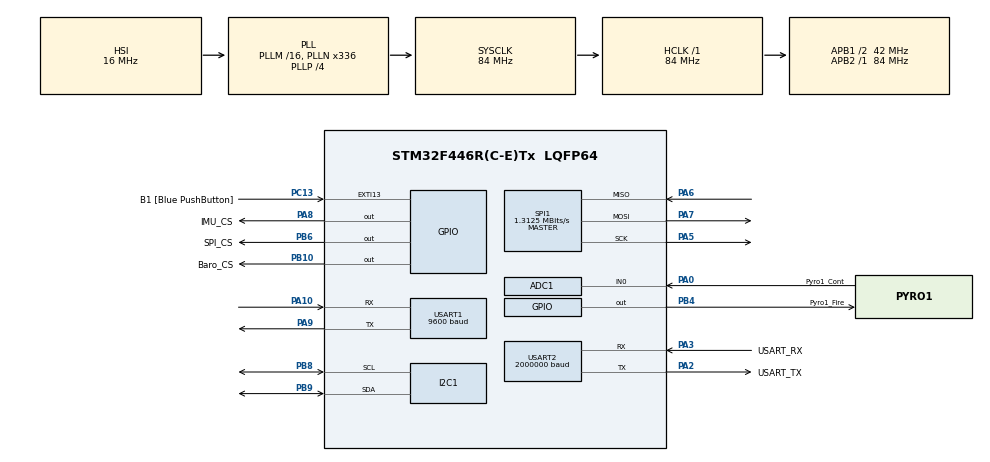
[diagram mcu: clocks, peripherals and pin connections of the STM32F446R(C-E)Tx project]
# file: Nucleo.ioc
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ADC1.Channel-0\#ChannelRegularConversion=ADC_CHANNEL_0
ADC1.NbrOfConversionFlag=1
ADC1.Rank-0\#ChannelRegularConversion=1
ADC1.SamplingTime-0\#ChannelRegularConversion=ADC_SAMPLETIME_3CYCLES
ADC1.master=1
Mcu.Family=STM32F4
Mcu.Name=STM32F446R(C-E)Tx
Mcu.Package=LQFP64
NVIC.PriorityGroup=NVIC_PRIORITYGROUP_0
PA0-WKUP.GPIO_Label=Pyro1_Cont
PA0-WKUP.Signal=ADCx_IN0
PA10.Mode=Asynchronous
PA10.Signal=USART1_RX
PA13.GPIO_Label=TMS
PA13.Mode=Trace_Asynchronous_SW
PA13.Signal=SYS_JTMS-SWDIO
PA14.GPIO_Label=TCK
PA14.Mode=Trace_Asynchronous_SW
PA14.Signal=SYS_JTCK-SWCLK
PA2.GPIO_Label=USART_TX
PA2.Mode=Asynchronous
PA2.Signal=USART2_TX
PA3.GPIO_Label=USART_RX
PA3.Mode=Asynchronous
PA3.Signal=USART2_RX
PA5.Mode=Full_Duplex_Master
PA5.Signal=SPI1_SCK
PA6.Mode=Full_Duplex_Master
PA6.Signal=SPI1_MISO
PA7.Mode=Full_Duplex_Master
PA7.Signal=SPI1_MOSI
PA8.GPIO_Label=IMU_CS
PA8.PinState=GPIO_PIN_SET
PA8.Signal=GPIO_Output
PA9.Mode=Asynchronous
PA9.Signal=USART1_TX
PB10.GPIO_Label=Baro_CS
PB10.PinState=GPIO_PIN_SET
PB10.Signal=GPIO_Output
PB3.GPIO_Label=SWO
PB3.Mode=Trace_Asynchronous_SW
PB3.Signal=SYS_JTDO-SWO
PB4.GPIO_Label=Pyro1_Fire
PB4.Signal=GPIO_Output
PB6.GPIO_Label=SPI_CS
PB6.PinState=GPIO_PIN_SET
PB6.Signal=GPIO_Output
PB8.Mode=I2C
PB8.Signal=I2C1_SCL
PB9.Mode=I2C
PB9.Signal=I2C1_SDA
PC13.GPIO_Label=B1 [Blue PushButton]
PC13.GPIO_ModeDefaultEXTI=GPIO_MODE_IT_FALLING
PC13.Signal=GPXTI13
PC14-OSC32_IN.Mode=LSE-External-Oscillator
PC14-OSC32_IN.Signal=RCC_OSC32_IN
PC15-OSC32_OUT.Mode=LSE-External-Oscillator
PC15-OSC32_OUT.Signal=RCC_OSC32_OUT
PH0-OSC_IN.Mode=HSE-External-Oscillator
PH0-OSC_IN.Signal=RCC_OSC_IN
PH1-OSC_OUT.Mode=HSE-External-Oscillator
PH1-OSC_OUT.Signal=RCC_OSC_OUT
ProjectManager.HeapSize=0x200
ProjectManager.StackSize=0x400
ProjectManager.TargetToolchain=Makefile
RCC.48MHZClocksFreq_Value=84000000
RCC.AHBFreq_Value=84000000
RCC.APB1CLKDivider=RCC_HCLK_DIV2
RCC.APB1Freq_Value=42000000
RCC.APB1TimFreq_Value=84000000
RCC.APB2Freq_Value=84000000
RCC.APB2TimFreq_Value=84000000
RCC.CortexFreq_Value=84000000
RCC.FLatency-AdvancedSettings=FLASH_LATENCY_2
RCC.HCLKFreq_Value=84000000
RCC.HSE_VALUE=8000000
RCC.HSI_VALUE=16000000
RCC.PLLN=336
RCC.PLLP=RCC_PLLP_DIV4
RCC.SYSCLKFreq_VALUE=84000000
RCC.SYSCLKSource=RCC_SYSCLKSOURCE_PLLCLK
RCC.USBFreq_Value=168000000
RCC.VCOOutputFreq_Value=336000000
SH.ADCx_IN0.0=ADC1_IN0,IN0
SPI1.BaudRatePrescaler=SPI_BAUDRATEPRESCALER_64
SPI1.CLKPhase=SPI_PHASE_1EDGE
SPI1.CalculateBaudRate=1.3125 MBits/s
SPI1.DataSize=SPI_DATASIZE_8BIT
SPI1.Direction=SPI_DIRECTION_2LINES
SPI1.Mode=SPI_MODE_MASTER
SPI1.VirtualType=VM_MASTER
USART1.BaudRate=9600
USART1.VirtualMode=VM_ASYNC
USART2.BaudRate=2000000
USART2.VirtualMode=VM_ASYNC
board=NUCLEO-F446RE

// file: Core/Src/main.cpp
/* USER CODE BEGIN Header */
/**
  ******************************************************************************
  * @file           : main.c
  * @brief          : Main program body
  ******************************************************************************
  * @attention
  *
  * Copyright (c) 2025 STMicroelectronics.
  * All rights reserved.
  *
  * This software is licensed under terms that can be found in the LICENSE file
  * in the root directory of this software component.
  * If no LICENSE file comes with this software, it is provided AS-IS.
  *
  ******************************************************************************
  */
/* USER CODE END Header */
#include "main.h"

/* USER CODE BEGIN Includes */

#include "data.h"
#include "state_machine.h"

#include "SPI_Devices/radio_RFM95W.h"
#include "SPI_Devices/flash_W25Q128.h"
#include "SPI_Devices/imu_LSM6DSV320.h"

#include "I2C_Devices/mag_MMC5603NJ.h"
#include "I2C_Devices/baro_MS5607.h"

#include "Pyro.h"

#include "filters/orientation_filter.h"
#include "filters/position_kalman_filter.h"

#include "definitions.h"

#include "micros.h"

/* USER CODE END Includes */

ADC_HandleTypeDef hadc1;

I2C_HandleTypeDef hi2c1;

SPI_HandleTypeDef hspi1;

UART_HandleTypeDef huart1; // GPS
UART_HandleTypeDef huart2; // Logging

/* USER CODE BEGIN PV */
uint32_t loop_start = micros();

Data data(&huart2);
char buffer[64];

// I2C Devices
// Mag_MMC5603NJ  mag(&hi2c1, &data);
Baro_MS5607 baro(&hi2c1, &data);
I2C_Device* i2c_devices[NUM_I2C_DEVICES] = {&baro};

// SPI Devices
Radio_RFM95W  radio(&data, &hspi1, SPI_CS_GPIO_Port, SPI_CS_Pin, RADIO_FREQ);
// Flash_W25Q128 flash(&data, &hspi1, SPI_CS_GPIO_Port, SPI_CS_Pin);
IMU_LSM6DSV320 imu(&data, &hspi1, IMU_CS_GPIO_Port, IMU_CS_Pin);
// Baro_MS5607    baro(&data, &hspi1, GPIOB, Baro_CS_Pin);
SPI_Device* spi_devices[NUM_SPI_DEVICES] {&imu, &radio};

// Pyro Channels
Pyro pyro1(&data, GPIOA, Pyro1_Fire_Pin, hadc1);
// Pyro pyro2(&data, GPIOA, Pyro2_Fire_Pin, GPIOA, Pyro2_Cont_Pin);
// Pyro pyro3(&data, GPIOA, Pyro3_Fire_Pin, GPIOA, Pyro3_Cont_Pin);

// Filters
Orientation_Filter orientation_filter(&data);
Position_Kalman_Filter position_kalman_filter(&data);

State_Machine state_machine(&data, i2c_devices, spi_devices);

/* USER CODE END PV */

void SystemClock_Config(void);
static void MX_GPIO_Init(void);
static void MX_I2C1_Init(void);
static void MX_USART2_UART_Init(void);
static void MX_USART1_UART_Init(void);
static void MX_SPI1_Init(void);
static void MX_ADC1_Init(void);

int main(void)
{

    /* USER CODE BEGIN 1 */
    DWT_Init(); // Initialize the DWT for micro() and delay_us() functions
    /* USER CODE END 1 */

    /* MCU Configuration--------------------------------------------------------*/

    /* Reset of all peripherals, Initializes the Flash interface and the Systick. */
    HAL_Init();

    /* Configure the system clock */
    SystemClock_Config();

    /* Initialize all configured peripherals */
    MX_GPIO_Init();
    MX_I2C1_Init();
    MX_USART2_UART_Init();
    MX_USART1_UART_Init();
    MX_SPI1_Init();
	MX_ADC1_Init();
    /* USER CODE BEGIN 2 */

    // Initialize the state machine
    state_machine.start();
    state_machine.system_checks();

    snprintf(buffer, sizeof(buffer), "Finished System Checks\r\n");
    HAL_UART_Transmit(&huart2, (uint8_t*)buffer, sizeof(buffer), HAL_MAX_DELAY);

    // Initialize the filters
    orientation_filter.init();
    position_kalman_filter.init();

    state_machine.localize();

    /* USER CODE END 2 */

    /* Infinite loop */
    while (1)
    {

        /* USER CODE BEGIN 3 */

        if (micros() - loop_start >= LOOP_TIME) {

            data.dt = (micros() - loop_start) / 1000000.0;
            data.freq = 1 / data.dt;

            loop_start = micros();
            data.timestamp = loop_start;

            // Update state machine
            state_machine.loop();

            // Update filters
            orientation_filter.compute();

            data.rotated_LowG_Accel  = data.LSM6DSV320_LowG_Accel.rotateByEuler(data.orientation.toEuler());  // Rotate acceleration vector by orientation
            data.rotated_HighG_Accel = data.LSM6DSV320_HighG_Accel.rotateByEuler(data.orientation.toEuler()); // Rotate acceleration vector by orientation
            position_kalman_filter.compute();

            // Log data
            data.log();
        }
    }
    /* USER CODE END 3 */
}

void SystemClock_Config(void)
{
    RCC_OscInitTypeDef RCC_OscInitStruct = {0};
    RCC_ClkInitTypeDef RCC_ClkInitStruct = {0};

    /** Configure the main internal regulator output voltage
     */
    __HAL_RCC_PWR_CLK_ENABLE();
	__HAL_PWR_VOLTAGESCALING_CONFIG(PWR_REGULATOR_VOLTAGE_SCALE3);

    /** Initializes the RCC Oscillators according to the specified parameters
     * in the RCC_OscInitTypeDef structure.
     */
    RCC_OscInitStruct.OscillatorType = RCC_OSCILLATORTYPE_HSI;
    RCC_OscInitStruct.HSIState = RCC_HSI_ON;
    RCC_OscInitStruct.HSICalibrationValue = RCC_HSICALIBRATION_DEFAULT;
    RCC_OscInitStruct.PLL.PLLState = RCC_PLL_ON;
    RCC_OscInitStruct.PLL.PLLSource = RCC_PLLSOURCE_HSI;
    RCC_OscInitStruct.PLL.PLLM = 16;
    RCC_OscInitStruct.PLL.PLLN = 336;
    RCC_OscInitStruct.PLL.PLLP = RCC_PLLP_DIV4;
    RCC_OscInitStruct.PLL.PLLQ = 2;
    RCC_OscInitStruct.PLL.PLLR = 2;
    if (HAL_RCC_OscConfig(&RCC_OscInitStruct) != HAL_OK)
    {
        Error_Handler();
    }

    /** Initializes the CPU, AHB and APB buses clocks
     */
	RCC_ClkInitStruct.ClockType = RCC_CLOCKTYPE_HCLK | RCC_CLOCKTYPE_SYSCLK | RCC_CLOCKTYPE_PCLK1 | RCC_CLOCKTYPE_PCLK2;
    RCC_ClkInitStruct.SYSCLKSource = RCC_SYSCLKSOURCE_PLLCLK;
    RCC_ClkInitStruct.AHBCLKDivider = RCC_SYSCLK_DIV1;
    RCC_ClkInitStruct.APB1CLKDivider = RCC_HCLK_DIV2;
    RCC_ClkInitStruct.APB2CLKDivider = RCC_HCLK_DIV1;

    if (HAL_RCC_ClockConfig(&RCC_ClkInitStruct, FLASH_LATENCY_2) != HAL_OK)
    {
        Error_Handler();
    }
}

static void MX_ADC1_Init(void)
{

	ADC_ChannelConfTypeDef sConfig = {0};

	/** Configure the global features of the ADC (Clock, Resolution, Data Alignment and number of conversion)
	 */
	hadc1.Instance = ADC1;
	hadc1.Init.ClockPrescaler = ADC_CLOCK_SYNC_PCLK_DIV4;
	hadc1.Init.Resolution = ADC_RESOLUTION_12B;
	hadc1.Init.ScanConvMode = DISABLE;
	hadc1.Init.ContinuousConvMode = DISABLE;
	hadc1.Init.DiscontinuousConvMode = DISABLE;
	hadc1.Init.ExternalTrigConvEdge = ADC_EXTERNALTRIGCONVEDGE_NONE;
	hadc1.Init.ExternalTrigConv = ADC_SOFTWARE_START;
	hadc1.Init.DataAlign = ADC_DATAALIGN_RIGHT;
	hadc1.Init.NbrOfConversion = 1;
	hadc1.Init.DMAContinuousRequests = DISABLE;
	hadc1.Init.EOCSelection = ADC_EOC_SINGLE_CONV;
	if (HAL_ADC_Init(&hadc1) != HAL_OK)
	{
		Error_Handler();
	}

	/** Configure for the selected ADC regular channel its corresponding rank in the sequencer and its sample time.
	 */
	sConfig.Channel = ADC_CHANNEL_0;
	sConfig.Rank = 1;
	sConfig.SamplingTime = ADC_SAMPLETIME_3CYCLES;
	if (HAL_ADC_ConfigChannel(&hadc1, &sConfig) != HAL_OK)
	{
		Error_Handler();
	}
}

static void MX_I2C1_Init(void)
{

    hi2c1.Instance = I2C1;
    hi2c1.Init.ClockSpeed = 100000;
    hi2c1.Init.DutyCycle = I2C_DUTYCYCLE_2;
    hi2c1.Init.OwnAddress1 = 0;
    hi2c1.Init.AddressingMode = I2C_ADDRESSINGMODE_7BIT;
    hi2c1.Init.DualAddressMode = I2C_DUALADDRESS_DISABLE;
    hi2c1.Init.OwnAddress2 = 0;
    hi2c1.Init.GeneralCallMode = I2C_GENERALCALL_DISABLE;
    hi2c1.Init.NoStretchMode = I2C_NOSTRETCH_DISABLE;
    if (HAL_I2C_Init(&hi2c1) != HAL_OK)
    {
        Error_Handler();
    }
}

static void MX_SPI1_Init(void)
{

    /* SPI1 parameter configuration*/
    hspi1.Instance = SPI1;
    hspi1.Init.Mode = SPI_MODE_MASTER;
    hspi1.Init.Direction = SPI_DIRECTION_2LINES;
    hspi1.Init.DataSize = SPI_DATASIZE_8BIT;
    hspi1.Init.CLKPolarity = SPI_POLARITY_LOW;
    hspi1.Init.CLKPhase = SPI_PHASE_1EDGE;
    hspi1.Init.NSS = SPI_NSS_SOFT;
    hspi1.Init.BaudRatePrescaler = SPI_BAUDRATEPRESCALER_64;
    hspi1.Init.FirstBit = SPI_FIRSTBIT_MSB;
    hspi1.Init.TIMode = SPI_TIMODE_DISABLE;
    hspi1.Init.CRCCalculation = SPI_CRCCALCULATION_DISABLE;
    hspi1.Init.CRCPolynomial = 10;
    if (HAL_SPI_Init(&hspi1) != HAL_OK)
    {
        Error_Handler();
    }
}

static void MX_USART1_UART_Init(void)
{

  huart1.Instance = USART1;
  huart1.Init.BaudRate = 9600;
  huart1.Init.WordLength = UART_WORDLENGTH_8B;
  huart1.Init.StopBits = UART_STOPBITS_1;
  huart1.Init.Parity = UART_PARITY_NONE;
  huart1.Init.Mode = UART_MODE_TX_RX;
  huart1.Init.HwFlowCtl = UART_HWCONTROL_NONE;
  huart1.Init.OverSampling = UART_OVERSAMPLING_16;
  if (HAL_UART_Init(&huart1) != HAL_OK)
  {
    Error_Handler();
  }
}

static void MX_USART2_UART_Init(void)
{

  huart2.Instance = USART2;
  huart2.Init.BaudRate = 2000000;
  huart2.Init.WordLength = UART_WORDLENGTH_8B;
  huart2.Init.StopBits = UART_STOPBITS_1;
  huart2.Init.Parity = UART_PARITY_NONE;
  huart2.Init.Mode = UART_MODE_TX_RX;
  huart2.Init.HwFlowCtl = UART_HWCONTROL_NONE;
  huart2.Init.OverSampling = UART_OVERSAMPLING_16;
  if (HAL_UART_Init(&huart2) != HAL_OK)
  {
    Error_Handler();
  }
}

static void MX_GPIO_Init(void)
{
    GPIO_InitTypeDef GPIO_InitStruct = {0};

    /* GPIO Ports Clock Enable */
    __HAL_RCC_GPIOC_CLK_ENABLE();
    __HAL_RCC_GPIOH_CLK_ENABLE();
    __HAL_RCC_GPIOA_CLK_ENABLE();
    __HAL_RCC_GPIOB_CLK_ENABLE();

    /*Configure GPIO pin Output Level */
	HAL_GPIO_WritePin(GPIOB, Baro_CS_Pin | SPI_CS_Pin, GPIO_PIN_SET);

    /*Configure GPIO pin Output Level */
    HAL_GPIO_WritePin(IMU_CS_GPIO_Port, IMU_CS_Pin, GPIO_PIN_SET);

	/*Configure GPIO pin Output Level */
	HAL_GPIO_WritePin(Pyro1_Fire_GPIO_Port, Pyro1_Fire_Pin, GPIO_PIN_RESET);

    /*Configure GPIO pin : B1_Pin */
    GPIO_InitStruct.Pin = B1_Pin;
    GPIO_InitStruct.Mode = GPIO_MODE_IT_FALLING;
    GPIO_InitStruct.Pull = GPIO_NOPULL;
    HAL_GPIO_Init(B1_GPIO_Port, &GPIO_InitStruct);

	/*Configure GPIO pins : Baro_CS_Pin Pyro1_Fire_Pin SPI_CS_Pin */
	GPIO_InitStruct.Pin = Baro_CS_Pin | Pyro1_Fire_Pin | SPI_CS_Pin;
    GPIO_InitStruct.Mode = GPIO_MODE_OUTPUT_PP;
    GPIO_InitStruct.Pull = GPIO_NOPULL;
    GPIO_InitStruct.Speed = GPIO_SPEED_FREQ_LOW;
    HAL_GPIO_Init(GPIOB, &GPIO_InitStruct);

    /*Configure GPIO pin : IMU_CS_Pin */
    GPIO_InitStruct.Pin = IMU_CS_Pin;
    GPIO_InitStruct.Mode = GPIO_MODE_OUTPUT_PP;
    GPIO_InitStruct.Pull = GPIO_NOPULL;
    GPIO_InitStruct.Speed = GPIO_SPEED_FREQ_LOW;
    HAL_GPIO_Init(IMU_CS_GPIO_Port, &GPIO_InitStruct);

}

void Error_Handler(void)
{
    __disable_irq();
    while (1)
    {
    }
}
